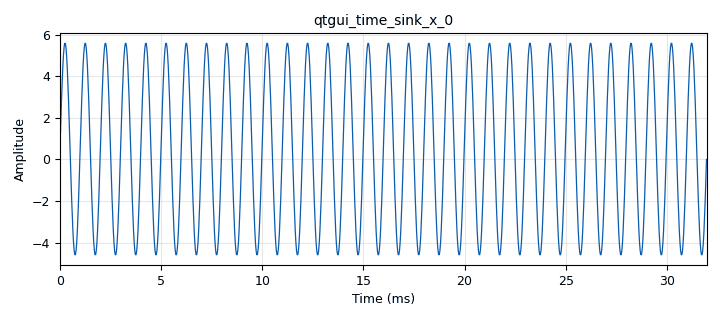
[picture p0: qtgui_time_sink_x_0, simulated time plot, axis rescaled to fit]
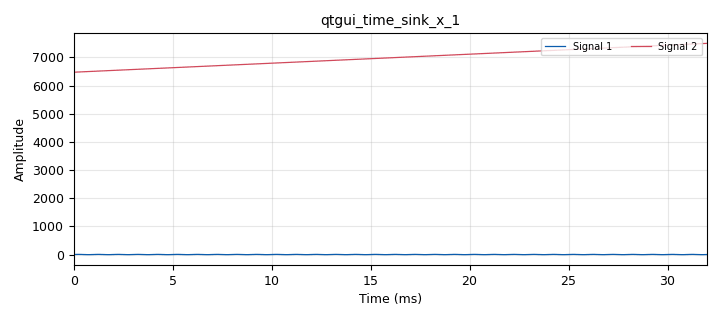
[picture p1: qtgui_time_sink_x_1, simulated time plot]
options:
  parameters:
    generate_options: qt_gui
    id: untitled
    output_language: python
    title: Not titled yet
  states: {}

blocks:
- name: samp_rate
  id: variable
  parameters:
    value: '32000'
  states: {}
- name: analog_sig_source_x_0
  id: analog_sig_source_x
  parameters:
    amp: '1'
    freq: '1000'
    offset: '0'
    phase: '0'
    samp_rate: samp_rate
    type: float
    waveform: analog.GR_COS_WAVE
  states: {}
- name: analog_sig_source_x_1
  id: analog_sig_source_x
  parameters:
    amp: '1'
    freq: '1000'
    offset: '0'
    phase: '0'
    samp_rate: samp_rate
    type: float
    waveform: analog.GR_COS_WAVE
  states: {}
- name: blocks_throttle2_0
  id: blocks_throttle2
  parameters:
    samples_per_second: samp_rate
    type: float
  states: {}
- name: blocks_throttle2_0_0
  id: blocks_throttle2
  parameters:
    samples_per_second: samp_rate
    type: float
  states: {}
- name: blocks_throttle2_1
  id: blocks_throttle2
  parameters:
    samples_per_second: samp_rate
    type: float
  states: {}
- name: blocks_vector_source_x_0
  id: blocks_vector_source_x
  parameters:
    repeat: 'True'
    tags: ''
    type: float
    vector: '[1]'
  states: {}
- name: epy_block_0
  id: epy_block
  parameters:
    _source_code: "import numpy as np\nfrom gnuradio import gr\n\nclass blk(gr.sync_block):\n    def __init__(self):\n        gr.sync_block.__init__(\n            self,\n            name='e_Diff',       # Comillas estándar de Python\n            in_sig=[np.float32],\n            out_sig=[np.float32]\n        )\n        # La inicialización de tus variables de estado va FUERA del bloque anterior\n        self.acum_anterior = 0.0\n\n    def work(self, input_items, output_items):\n        x = input_items[0]       # Señal de entrada\n        y0 = output_items[0]     # Señal acumulada diferencial\n        N = len(x)\n        \n        # Lógica de acumulación considerando el estado del bloque anterior\n        diff = np.cumsum(x) + self.acum_anterior\n        self.acum_anterior = diff[N - 1]\n        \n        y0[:] = diff\n        return len(y0)           # Retorna la longitud del vector correcto (y0)\n\n"
  states: {}
- name: epy_block_1
  id: epy_block
  parameters:
    _source_code: "import numpy as np\nfrom gnuradio import gr\n\nclass blk(gr.sync_block):\n    def __init__(self):\n        gr.sync_block.__init__(\n            self,\n            name='e_Acum',       # Comillas simples estándar de Python\n            in_sig=[np.float32],\n            out_sig=[np.float32]\n        )\n\n    def work(self, input_items, output_items):\n        x = input_items[0]       # Señal de entrada\n        y0 = output_items[0]     \n        \n        y0[:] = np.cumsum(x)\n        \n        return len(y0)         \n\n"
  states: {}
- name: epy_block_1_0
  id: epy_block
  parameters:
    _source_code: "import numpy as np\nfrom gnuradio import gr\n\nclass blk(gr.sync_block):\n    def __init__(self):\n        gr.sync_block.__init__(\n            self,\n            name='e_Acum',       # Comillas simples estándar de Python\n            in_sig=[np.float32],\n            out_sig=[np.float32]\n        )\n\n    def work(self, input_items, output_items):\n        x = input_items[0]       # Señal de entrada\n        y0 = output_items[0]     # Señal de salida asignada\n        \n        # Lógica del acumulador utilizando la función de NumPy\n        y0[:] = np.cumsum(x)\n        \n        return len(y0)           # Retorna la longitud del vector de salida corregido\n\n"
  states: {}
- name: qtgui_time_sink_x_0
  id: qtgui_time_sink_x
  parameters:
    size: '1024'
    srate: samp_rate
    type: float
  states: {}
- name: qtgui_time_sink_x_1
  id: qtgui_time_sink_x
  parameters:
    autoscale: 'True'
    nconnections: '2'
    size: '1024'
    srate: samp_rate
    type: float
  states: {}

connections:
- [analog_sig_source_x_0, '0', epy_block_1, '0']
- [analog_sig_source_x_1, '0', epy_block_0, '0']
- [blocks_throttle2_0, '0', qtgui_time_sink_x_1, '0']
- [blocks_throttle2_0_0, '0', qtgui_time_sink_x_1, '1']
- [blocks_throttle2_1, '0', qtgui_time_sink_x_0, '0']
- [blocks_vector_source_x_0, '0', epy_block_1_0, '0']
- [epy_block_0, '0', blocks_throttle2_1, '0']
- [epy_block_1, '0', blocks_throttle2_0, '0']
- [epy_block_1_0, '0', blocks_throttle2_0_0, '0']

metadata:
  file_format: 1
  grc_version: 3.10.9.2
